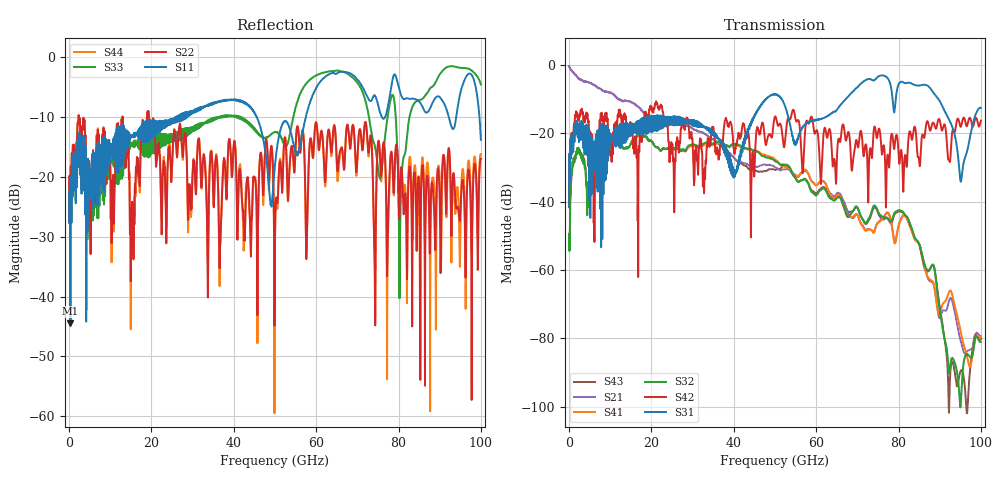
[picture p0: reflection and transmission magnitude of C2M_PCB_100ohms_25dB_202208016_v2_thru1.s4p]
! Info: Touchstone file created by Circ.  Input file=Intel_C2M_200G_10p5in_202208016_staggered.circ
# Hz S RI R 50
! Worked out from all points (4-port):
!   10000 points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, 10 MHz to 100 GHz, reference 50 ohm
!   strongest paths, dB at 10 MHz, 25.01 GHz, 50.01 GHz, 75.01 GHz, 100 GHz:
!     S31: -41.6, -15.2, -8.7, -3.4, -12.6
!     S42: -41.6, -24.0, -15.1, -19.7, -16.3
!     S32: -54.2, -24.2, -28.1, -42.8, -81.0
!     S41: -54.2, -24.5, -27.7, -46.2, -79.5
!     S21: -0.3, -16.4, -29.9, -46.2, -79.4
!     S43: -0.3, -16.4, -30.7, -43.2, -80.1
!   lowest |S11| = -44.5 dB at 300 MHz (marker M1), VSWR 1.01, Z = 49.5 + j0.32 ohm
!   |S11| at or under -10 dB: start of sweep to 25.97 GHz; 45.6 GHz to 57.49 GHz (11.89 GHz wide, 23.1 % of centre); 92.21 GHz to 94 GHz (1.787 GHz wide, 1.92 % of centre)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
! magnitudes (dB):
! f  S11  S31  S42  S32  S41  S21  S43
! 10 MHz  -27.6  -41.6  -41.6  -54.2  -54.2  -0.3  -0.3
! 300 MHz  -44.5  -23.1  -22.4  -38.9  -39.0  -1.1  -1.1
! 40.95 GHz  -7.1  -30.5  -21.7  -23.2  -23.6  -28.0  -28.2
! 49.05 GHz  -24.6  -8.9  -20.9  -27.5  -26.9  -29.4  -30.5
! 80.89 GHz  -6.7  -4.9  -27.6  -42.8  -44.5  -44.3  -43.1
! 95.16 GHz  -5.5  -34.1  -18.0  -97.9  -78.4  -81.0  -89.4
! 100 GHz  -13.8  -12.6  -16.3  -81.0  -79.5  -79.4  -80.1
